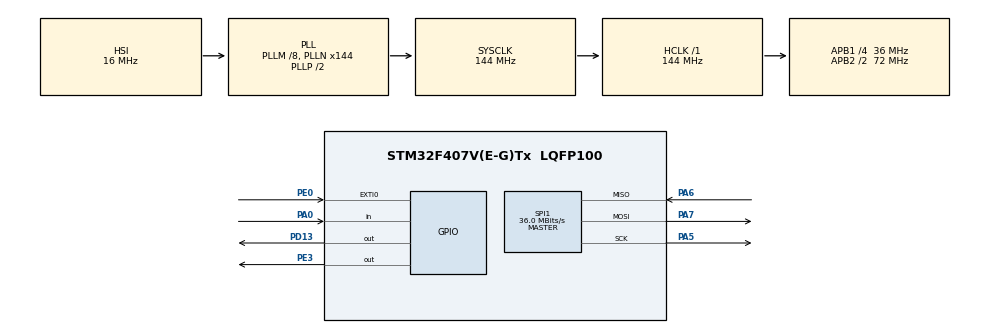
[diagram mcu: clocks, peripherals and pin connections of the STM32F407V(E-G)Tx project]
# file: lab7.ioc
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Mcu.Family=STM32F4
Mcu.Name=STM32F407V(E-G)Tx
Mcu.Package=LQFP100
NVIC.EXTI0_IRQn=true\:0\:0\:false\:false\:true\:true\:true\:true
NVIC.PriorityGroup=NVIC_PRIORITYGROUP_4
PA0-WKUP.Signal=GPIO_Input
PA13.Mode=Serial_Wire
PA13.Signal=SYS_JTMS-SWDIO
PA14.Mode=Serial_Wire
PA14.Signal=SYS_JTCK-SWCLK
PA5.Mode=Full_Duplex_Master
PA5.Signal=SPI1_SCK
PA6.Mode=Full_Duplex_Master
PA6.Signal=SPI1_MISO
PA7.Mode=Full_Duplex_Master
PA7.Signal=SPI1_MOSI
PD13.Signal=GPIO_Output
PE0.Signal=GPXTI0
PE3.Signal=GPIO_Output
ProjectManager.HeapSize=0x200
ProjectManager.StackSize=0x400
ProjectManager.TargetToolchain=STM32CubeIDE
RCC.48MHZClocksFreq_Value=72000000
RCC.AHBFreq_Value=144000000
RCC.APB1CLKDivider=RCC_HCLK_DIV4
RCC.APB1Freq_Value=36000000
RCC.APB1TimFreq_Value=72000000
RCC.APB2CLKDivider=RCC_HCLK_DIV2
RCC.APB2Freq_Value=72000000
RCC.APB2TimFreq_Value=144000000
RCC.CortexFreq_Value=144000000
RCC.HCLKFreq_Value=144000000
RCC.HSE_VALUE=25000000
RCC.HSI_VALUE=16000000
RCC.LSE_VALUE=32768
RCC.PLLM=8
RCC.PLLN=144
RCC.SYSCLKFreq_VALUE=144000000
RCC.SYSCLKSource=RCC_SYSCLKSOURCE_PLLCLK
RCC.VCOOutputFreq_Value=288000000
SPI1.CalculateBaudRate=36.0 MBits/s
SPI1.Direction=SPI_DIRECTION_2LINES
SPI1.Mode=SPI_MODE_MASTER
SPI1.VirtualType=VM_MASTER
board=custom

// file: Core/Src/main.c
/* USER CODE BEGIN Header */
/**
  ******************************************************************************
  * @file           : main.c
  * @brief          : Варіант 2 - Помаранчевий світлодіод (PD13) та LIS3DSH
  ******************************************************************************
  */
/* USER CODE END Header */
#include "main.h"
#include "spi.h"
#include "gpio.h"

/* USER CODE BEGIN Includes */
#include "spi.h"
#include "MY_LIS3DSH.h"
#include <stdlib.h>
/* USER CODE END Includes */

/* USER CODE BEGIN PD */
#define FILTER_WINDOW_SIZE 5    // Розмір вікна фільтра ковзного середнього
#define MOTION_THRESHOLD   50  // Поріг чутливості до руху
/* USER CODE END PD */

/* USER CODE BEGIN PV */
/* Змінні для акселерометра LIS3DSH */
volatile uint8_t data_ready_flag = 0; // Прапорець переривання
LIS3DSH_DataRaw raw_data;              // Змінна для сирих даних з акселерометра

/* Буфери для фільтрації шуму SPI */
int16_t x_buf[FILTER_WINDOW_SIZE] = {0};
int16_t y_buf[FILTER_WINDOW_SIZE] = {0};
int16_t z_buf[FILTER_WINDOW_SIZE] = {0};
uint8_t buf_index = 0;

/* Попередні значення для порівняння переміщення */
int16_t prev_x = 0, prev_y = 0, prev_z = 0;
/* USER CODE END PV */

void SystemClock_Config(void);
/* USER CODE BEGIN PFP */
int16_t Apply_Moving_Average(int16_t new_value, int16_t *buffer);
/* USER CODE END PFP */

/* USER CODE BEGIN 0 */
/**
  * @brief Фільтр ковзного середнього для усунення шуму SPI
  */
int16_t Apply_Moving_Average(int16_t new_value, int16_t *buffer) {
    buffer[buf_index] = new_value;
    int32_t sum = 0;
    for (uint8_t i = 0; i < FILTER_WINDOW_SIZE; i++) {
        sum += buffer[i];
    }
    return (int16_t)(sum / FILTER_WINDOW_SIZE);
}

/**
  * @brief Обробник переривання EXTI від акселерометра
  */
void HAL_GPIO_EXTI_Callback(uint16_t GPIO_Pin) {
    if (GPIO_Pin == GPIO_PIN_0) {
        data_ready_flag = 1;
    }
}
/* USER CODE END 0 */

int main(void)
{

  /* MCU Configuration--------------------------------------------------------*/

  /* Reset of all peripherals, Initializes the Flash interface and the Systick. */
  HAL_Init();

  /* Configure the system clock */
  SystemClock_Config();

  /* Initialize all configured peripherals */
  MX_GPIO_Init();
  MX_SPI1_Init();
  /* USER CODE BEGIN 2 */
  /* Конфігурація акселерометра LIS3DSH */
  LIS3DSH_InitTypeDef lis3dsh_init;

  lis3dsh_init.dataRate = LIS3DSH_DATARATE_100;        // 100 Hz
  lis3dsh_init.fullScale = LIS3DSH_FULLSCALE_2;        // Діапазон +-2g
  lis3dsh_init.antiAliasingBW = LIS3DSH_FILTER_BW_800; // Смуга фільтрації 800Hz
  lis3dsh_init.enableAxes = LIS3DSH_XYZ_ENABLE;        // Увімкнути X, Y, Z
  lis3dsh_init.interruptEnable = 0;                    // Вимкнено переривання в ініціалізації

  // Ініціалізація акселерометра
  LIS3DSH_Init(&hspi1, &lis3dsh_init);

  int16_t filtered_x, filtered_y, filtered_z;
  /* USER CODE END 2 */

  /* Infinite loop */
  /* USER CODE BEGIN WHILE */
  /* Infinite loop */
    /* USER CODE BEGIN WHILE */
while (1) {
	/* Зчитування сирих даних з акселерометра */
	raw_data = LIS3DSH_GetDataRaw();

	/* Фільтрація шумових коливань по кожній осі */
	filtered_x = Apply_Moving_Average(raw_data.x, x_buf);
	filtered_y = Apply_Moving_Average(raw_data.y, y_buf);
	filtered_z = Apply_Moving_Average(raw_data.z, z_buf);

	buf_index = (buf_index + 1) % FILTER_WINDOW_SIZE;

	/* Обчислення різниці (дельти) для виявлення переміщення */
	int32_t delta_x = abs(filtered_x - prev_x);
	int32_t delta_y = abs(filtered_y - prev_y);
	int32_t delta_z = abs(filtered_z - prev_z);

	/* Перевірка перевищення порогу руху */
	if ((delta_x > MOTION_THRESHOLD) ||
		(delta_y > MOTION_THRESHOLD) ||
		(delta_z > MOTION_THRESHOLD)) {

		/* Варіант 2: Засвічуємо помаранчевий світлодіод (GPIOD, GPIO_PIN_13) */
		HAL_GPIO_WritePin(GPIOD, GPIO_PIN_13, GPIO_PIN_SET);
	} else {
		/* Вимикаємо світлодіод за відсутності руху */
		HAL_GPIO_WritePin(GPIOD, GPIO_PIN_13, GPIO_PIN_RESET);
	}

	/* Збереження поточних значень */
	prev_x = filtered_x;
	prev_y = filtered_y;
	prev_z = filtered_z;

	HAL_Delay(50); // Невелика затримка для стабільності
    /* USER CODE END WHILE */

  }
}

void SystemClock_Config(void)
{
  RCC_OscInitTypeDef RCC_OscInitStruct = {0};
  RCC_ClkInitTypeDef RCC_ClkInitStruct = {0};

  /** Configure the main internal regulator output voltage
  */
  __HAL_RCC_PWR_CLK_ENABLE();
  __HAL_PWR_VOLTAGESCALING_CONFIG(PWR_REGULATOR_VOLTAGE_SCALE1);

  /** Initializes the RCC Oscillators according to the specified parameters
  * in the RCC_OscInitTypeDef structure.
  */
  RCC_OscInitStruct.OscillatorType = RCC_OSCILLATORTYPE_HSI;
  RCC_OscInitStruct.HSIState = RCC_HSI_ON;
  RCC_OscInitStruct.HSICalibrationValue = RCC_HSICALIBRATION_DEFAULT;
  RCC_OscInitStruct.PLL.PLLState = RCC_PLL_ON;
  RCC_OscInitStruct.PLL.PLLSource = RCC_PLLSOURCE_HSI;
  RCC_OscInitStruct.PLL.PLLM = 8;
  RCC_OscInitStruct.PLL.PLLN = 144;
  RCC_OscInitStruct.PLL.PLLP = RCC_PLLP_DIV2;
  RCC_OscInitStruct.PLL.PLLQ = 4;
  if (HAL_RCC_OscConfig(&RCC_OscInitStruct) != HAL_OK)
  {
    Error_Handler();
  }

  /** Initializes the CPU, AHB and APB buses clocks
  */
  RCC_ClkInitStruct.ClockType = RCC_CLOCKTYPE_HCLK|RCC_CLOCKTYPE_SYSCLK
                              |RCC_CLOCKTYPE_PCLK1|RCC_CLOCKTYPE_PCLK2;
  RCC_ClkInitStruct.SYSCLKSource = RCC_SYSCLKSOURCE_PLLCLK;
  RCC_ClkInitStruct.AHBCLKDivider = RCC_SYSCLK_DIV1;
  RCC_ClkInitStruct.APB1CLKDivider = RCC_HCLK_DIV4;
  RCC_ClkInitStruct.APB2CLKDivider = RCC_HCLK_DIV2;

  if (HAL_RCC_ClockConfig(&RCC_ClkInitStruct, FLASH_LATENCY_4) != HAL_OK)
  {
    Error_Handler();
  }
}

void Error_Handler(void)
{
  __disable_irq();
  while (1)
  {
  }
}
